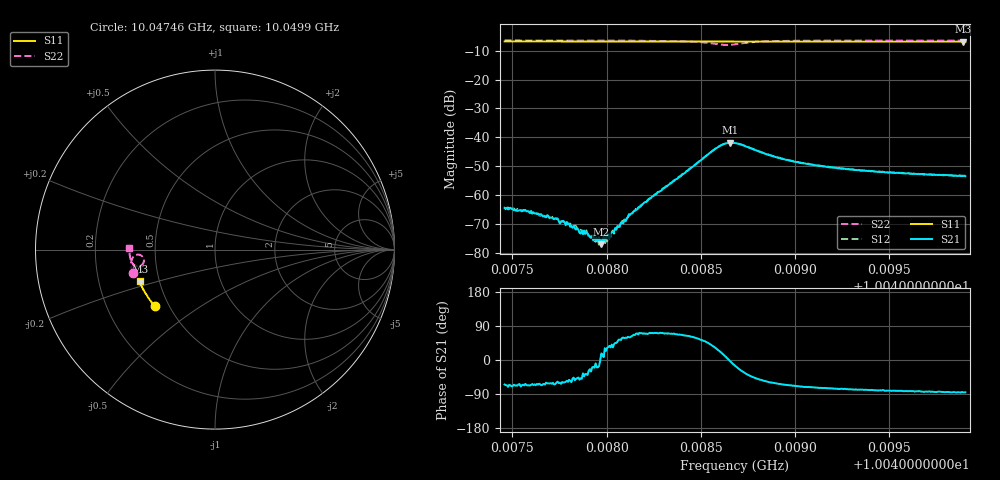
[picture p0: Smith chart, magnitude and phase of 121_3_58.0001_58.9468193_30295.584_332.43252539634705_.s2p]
#  HZ  S  RI  R  50.00
! Rohde & Schwarz Vector Network Analyzer
! Rohde-Schwarz,ZNB20-2Port,1311601062101988,3.16
! Created: UTC 3/21/2024, 12:55:44 AM
! freq[Hz]  re:S11  im:S11  re:S21  im:S21  re:S12  im:S12  re:S22  im:S22
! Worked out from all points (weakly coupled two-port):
!   401 points, 10.04746 GHz to 10.0499 GHz, reference 50 ohm
!   highest |S21| = -41.83 dB at 10.04866 GHz (marker M1); lowest = -77.1 dB at 10.04797 GHz (marker M2)
!   lowest |S11| = -6.8 dB at 10.04989 GHz (marker M3), VSWR 2.67, Z = 19.4 - j8.72 ohm
!   |S11| at or under -10 dB: nowhere
!   |S22| runs from -8.0 to -6.4 dB; largest |S21 - S12| = 0.00055
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1.0047459e10  -0.3357 -0.3147  0.000257 -0.000543  0.000259 -0.000541  -0.4594 -0.1327
1.0047575e10  -0.3408 -0.3087  0.00021 -0.000477  0.00025 -0.000448  -0.4612 -0.1246
1.0047728e10  -0.3474 -0.301  0.000175 -0.000354  0.000225 -0.000322  -0.4636 -0.1134
1.0047869e10  -0.3532 -0.2935  0.000156 -0.000183  0.000178 -0.00017  -0.4654 -0.1027
1.0047893e10  -0.3541 -0.2922  0.000183 -0.000141  0.000196 -0.000147  -0.4655 -0.1007
1.0047942e10  -0.3562 -0.2896  0.000163 -2.57e-05  0.000149 -3.7e-05  -0.4661 -0.0967
1.0047972e10  -0.3573 -0.2881  0.000133 4.14e-05  0.000127 2.58e-05  -0.4664 -0.0943
1.0047985e10  -0.3579 -0.2875  0.000187 2.52e-05  0.000166 2.75e-05  -0.4665 -0.0932
1.0047991e10  -0.3581 -0.287  0.000136 8.19e-05  0.000127 6.46e-05  -0.4665 -0.0925
1.0048003e10  -0.3587 -0.2865  0.000193 0.00012  0.000135 7.71e-05  -0.4666 -0.0916
1.0048021e10  -0.3593 -0.2856  0.000179 0.000117  0.000144 0.000122  -0.4667 -0.09
1.004815e10  -0.3644 -0.2786  0.000217 0.000484  0.000185 0.000511  -0.4672 -0.0783
1.0048278e10  -0.3692 -0.2716  0.000377 0.00107  0.000306 0.0011  -0.466 -0.0646
1.0048571e10  -0.3795 -0.2551  0.00506 0.00346  0.00484 0.00378  -0.4193 -0.0293
1.0048614e10  -0.3807 -0.253  0.00714 0.00218  0.00704 0.00261  -0.4013 -0.0424
1.0048657e10  -0.3821 -0.2507  0.00808 -0.000563  0.00815 -1.38e-05  -0.3966 -0.067
1.0048681e10  -0.3829 -0.2495  0.00768 -0.0021  0.00785 -0.00164  -0.4024 -0.0799
1.0048895e10  -0.3908 -0.2377  0.0022 -0.004  0.00246 -0.00393  -0.46 -0.077
1.004909e10  -0.3971 -0.2263  0.00103 -0.00319  0.00124 -0.00316  -0.4708 -0.0542
1.00495e10  -0.4093 -0.2022  0.000402 -0.00243  0.000523 -0.00243  -0.4759 -0.0192
1.0049891e10  -0.4193 -0.1784  0.000167 -0.00212  0.000295 -0.00215  -0.4765 0.00969
1.0049903e10  -0.4198 -0.1777  0.000172 -0.00211  0.000275 -0.00214  -0.4764 0.0105
